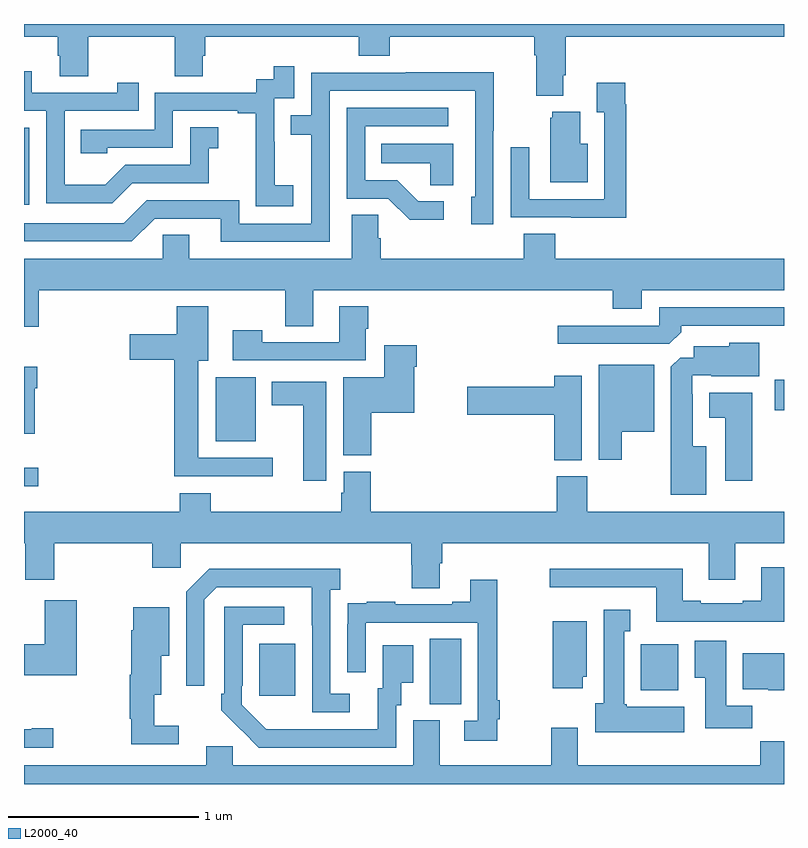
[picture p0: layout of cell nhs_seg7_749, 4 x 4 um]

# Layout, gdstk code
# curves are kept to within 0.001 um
import gdstk
lib = gdstk.Library(unit=1e-6, precision=1e-09)
def R(c, l, rs):  # rectangles x0, y0, x1, y1
    for r in rs: c.add(gdstk.rectangle(r[:2], r[2:], *l))
def P(c, l, *ps):  # polygons
    for p in ps: c.add(gdstk.Polygon(p, *l))
L2000_40 = (2000, 40)

nhs_seg7_749 = lib.new_cell('nhs_seg7_749')
R(nhs_seg7_749, L2000_40, [(169.136,1014.421,169.3,1014.764), (168.239,1014.465,168.427,1014.739), (170.246,1014.494,170.443,1014.736), (167,1015.568,167.074,1015.665), (168.008,1015.805,168.22,1016.14), (170.952,1015.966,171,1016.128), (167,1017.048,167.028,1017.453)])
P(nhs_seg7_749, L2000_40, [(169.837,1017.73),(169.85,1017.73),(169.85,1017.932),(171,1017.932),(171,1018),(167,1018),(167,1017.932),(167.177,1017.932),(167.177,1017.834),(167.189,1017.834),(167.189,1017.724),(167.337,1017.724),(167.337,1017.932),(167.794,1017.932),(167.794,1017.724),(167.941,1017.724),(167.941,1017.834),(167.954,1017.834),(167.954,1017.932),(168.761,1017.932),(168.761,1017.833),(168.926,1017.833),(168.926,1017.932),(169.685,1017.932),(169.685,1017.836),(169.697,1017.836),(169.697,1017.623),(169.837,1017.623)],
  [(168.418,1017.151),(168.32,1017.151),(168.32,1017.38),(168.318,1017.38),(168.318,1017.609),(168.423,1017.609),(168.423,1017.778),(168.315,1017.778),(168.315,1017.708),(168.222,1017.708),(168.222,1017.639),(167.688,1017.639),(167.688,1017.444),(167.299,1017.444),(167.299,1017.321),(167.439,1017.321),(167.439,1017.348),(167.784,1017.348),(167.784,1017.543),(168.125,1017.543),(168.125,1017.531),(168.221,1017.531),(168.221,1017.247),(168.22,1017.247),(168.22,1017.041),(168.418,1017.041)],
  [(167.569,1017.162),(167.973,1017.162),(167.973,1017.347),(168.022,1017.347),(168.022,1017.457),(167.874,1017.457),(167.874,1017.258),(167.532,1017.258),(167.428,1017.154),(167.214,1017.154),(167.214,1017.543),(167.603,1017.543),(167.603,1017.691),(167.492,1017.691),(167.492,1017.639),(167.041,1017.639),(167.041,1017.751),(167,1017.751),(167,1017.543),(167.118,1017.543),(167.118,1017.057),(167.464,1017.057)],
  [(168.609,1017.648),(169.374,1017.648),(169.374,1017.09),(169.355,1017.09),(169.355,1016.946),(169.47,1016.946),(169.47,1017.439),(169.473,1017.439),(169.473,1017.746),(169.009,1017.746),(169.009,1017.744),(168.513,1017.744),(168.513,1017.519),(168.403,1017.519),(168.403,1017.418),(168.513,1017.418),(168.513,1016.949),(168.132,1016.949),(168.132,1017.072),(167.646,1017.072),(167.526,1016.952),(167,1016.952),(167,1016.856),(167.568,1016.856),(167.688,1016.976),(168.035,1016.976),(168.035,1016.853),(168.609,1016.853)],
  [(170.171,1017.578),(170.164,1017.578),(170.164,1017.691),(170.015,1017.691),(170.015,1017.535),(170.055,1017.535),(170.055,1017.078),(169.659,1017.078),(169.659,1017.352),(169.563,1017.352),(169.563,1016.982),(169.879,1016.982),(169.879,1016.981),(170.171,1016.981)],
  [(169.21,1017.066),(169.075,1017.066),(168.964,1017.177),(168.795,1017.177),(168.795,1017.462),(169.234,1017.462),(169.234,1017.558),(168.699,1017.558),(168.699,1017.081),(168.918,1017.081),(169.031,1016.969),(169.21,1016.969)],
  [(169.966,1017.37),(169.927,1017.37),(169.927,1017.538),(169.781,1017.538),(169.781,1017.507),(169.769,1017.507),(169.769,1017.167),(169.966,1017.167)],
  [(169.258,1017.37),(168.88,1017.37),(168.88,1017.266),(169.137,1017.266),(169.137,1017.151),(169.258,1017.151)],
  [(167.078,1016.6),(168.376,1016.6),(168.376,1016.41),(168.523,1016.41),(168.523,1016.6),(170.099,1016.6),(170.099,1016.501),(170.251,1016.501),(170.251,1016.6),(171,1016.6),(171,1016.764),(169.796,1016.764),(169.796,1016.897),(169.631,1016.897),(169.631,1016.764),(168.878,1016.764),(168.878,1016.873),(168.864,1016.873),(168.864,1016.996),(168.725,1016.996),(168.725,1016.764),(167.869,1016.764),(167.869,1016.891),(167.73,1016.891),(167.73,1016.764),(167,1016.764),(167,1016.406),(167.078,1016.406)],
  [(168.31,1015.716),(167.917,1015.716),(167.917,1016.228),(167.971,1016.228),(167.971,1016.515),(167.804,1016.515),(167.804,1016.368),(167.556,1016.368),(167.556,1016.234),(167.792,1016.234),(167.792,1015.619),(168.31,1015.619)],
  [(168.799,1016.395),(168.812,1016.395),(168.812,1016.515),(168.659,1016.515),(168.659,1016.325),(168.255,1016.325),(168.255,1016.389),(168.099,1016.389),(168.099,1016.229),(168.799,1016.229)],
  [(170.459,1016.378),(170.459,1016.412),(171,1016.412),(171,1016.508),(170.343,1016.508),(170.343,1016.412),(169.809,1016.412),(169.809,1016.316),(170.397,1016.316)],
  [(170.59,1015.777),(170.521,1015.777),(170.521,1016.051),(170.517,1016.051),(170.517,1016.151),(170.617,1016.151),(170.617,1016.147),(170.869,1016.147),(170.869,1016.323),(170.712,1016.323),(170.712,1016.305),(170.525,1016.305),(170.525,1016.244),(170.454,1016.244),(170.405,1016.195),(170.405,1015.523),(170.59,1015.523)],
  [(168.827,1015.955),(169.054,1015.955),(169.054,1016.195),(169.067,1016.195),(169.067,1016.308),(168.896,1016.308),(168.896,1016.14),(168.68,1016.14),(168.68,1015.729),(168.827,1015.729)],
  [(170.146,1015.853),(170.317,1015.853),(170.317,1016.206),(170.024,1016.206),(170.024,1015.707),(170.146,1015.707)],
  [(167.056,1016.084),(167.069,1016.084),(167.069,1016.197),(167,1016.197),(167,1015.844),(167.056,1015.844)],
  [(169.936,1016.149),(169.79,1016.149),(169.79,1016.09),(169.332,1016.09),(169.332,1015.943),(169.79,1015.943),(169.79,1015.705),(169.936,1015.705)],
  [(168.592,1016.116),(168.305,1016.116),(168.305,1015.994),(168.47,1015.994),(168.47,1015.596),(168.592,1015.596)],
  [(170.833,1016.059),(170.606,1016.059),(170.606,1015.928),(170.69,1015.928),(170.69,1015.596),(170.833,1015.596)],
  [(168.683,1015.644),(168.683,1015.533),(168.671,1015.533),(168.671,1015.432),(167.984,1015.432),(167.984,1015.531),(167.819,1015.531),(167.819,1015.432),(167,1015.432),(167,1015.268),(167.006,1015.268),(167.006,1015.074),(167.159,1015.074),(167.159,1015.268),(167.675,1015.268),(167.675,1015.137),(167.826,1015.137),(167.826,1015.268),(169.037,1015.268),(169.037,1015.155),(169.042,1015.155),(169.042,1015.03),(169.189,1015.03),(169.189,1015.162),(169.202,1015.162),(169.202,1015.268),(170.603,1015.268),(170.603,1015.074),(170.743,1015.074),(170.743,1015.268),(171,1015.268),(171,1015.432),(169.965,1015.432),(169.965,1015.62),(169.805,1015.62),(169.805,1015.432),(168.824,1015.432),(168.824,1015.644)],
  [(171,1015.141),(170.879,1015.141),(170.879,1014.964),(170.783,1014.964),(170.783,1014.951),(170.563,1014.951),(170.563,1014.964),(170.467,1014.964),(170.467,1015.132),(169.767,1015.132),(169.767,1015.035),(170.327,1015.035),(170.327,1014.855),(170.787,1014.855),(170.787,1014.854),(171,1014.854)],
  [(168.715,1014.474),(168.612,1014.474),(168.612,1015.022),(168.664,1015.022),(168.664,1015.132),(167.974,1015.132),(167.853,1015.011),(167.853,1014.516),(167.949,1014.516),(167.949,1014.969),(168.015,1015.035),(168.515,1015.035),(168.516,1014.378),(168.715,1014.378)],
  [(169.49,1014.34),(169.505,1014.34),(169.505,1014.44),(169.49,1014.44),(169.49,1015.075),(169.349,1015.075),(169.349,1014.958),(169.253,1014.958),(169.253,1014.945),(168.953,1014.945),(168.953,1014.958),(168.805,1014.958),(168.805,1014.951),(168.703,1014.951),(168.703,1014.842),(168.702,1014.842),(168.702,1014.588),(168.798,1014.588),(168.798,1014.849),(169.389,1014.849),(169.389,1014.333),(169.317,1014.333),(169.317,1014.228),(169.49,1014.228)],
  [(167.278,1014.967),(167.108,1014.967),(167.108,1014.735),(167,1014.735),(167,1014.572),(167.278,1014.572)],
  [(168.96,1014.414),(168.985,1014.414),(168.985,1014.533),(169.048,1014.533),(169.048,1014.73),(168.887,1014.73),(168.887,1014.504),(168.863,1014.504),(168.863,1014.288),(168.276,1014.289),(168.147,1014.417),(168.147,1014.517),(168.15,1014.517),(168.15,1014.837),(168.37,1014.837),(168.37,1014.933),(168.054,1014.933),(168.054,1014.475),(168.039,1014.475),(168.039,1014.387),(168.236,1014.192),(168.96,1014.192)],
  [(167.815,1014.307),(167.686,1014.307),(167.686,1014.47),(167.722,1014.47),(167.722,1014.674),(167.764,1014.674),(167.764,1014.931),(167.576,1014.931),(167.576,1014.81),(167.564,1014.81),(167.564,1014.574),(167.557,1014.574),(167.557,1014.344),(167.565,1014.344),(167.565,1014.21),(167.815,1014.21)],
  [(170.476,1014.406),(170.172,1014.406),(170.172,1014.42),(170.158,1014.42),(170.158,1014.803),(170.191,1014.803),(170.191,1014.916),(170.051,1014.916),(170.051,1014.426),(170.006,1014.426),(170.006,1014.272),(170.476,1014.272)],
  [(169.942,1014.564),(169.963,1014.564),(169.963,1014.856),(169.784,1014.856),(169.784,1014.504),(169.942,1014.504)],
  [(170.834,1014.412),(170.695,1014.412),(170.695,1014.754),(170.531,1014.754),(170.531,1014.56),(170.585,1014.56),(170.585,1014.294),(170.834,1014.294)],
  [(171,1014.688),(170.783,1014.688),(170.783,1014.5),(170.916,1014.5),(170.916,1014.494),(171,1014.494)],
  [(171,1014.224),(170.875,1014.224),(170.875,1014.1),(169.915,1014.1),(169.915,1014.295),(169.775,1014.295),(169.775,1014.1),(169.189,1014.1),(169.189,1014.336),(169.049,1014.336),(169.049,1014.1),(168.099,1014.1),(168.099,1014.198),(167.96,1014.198),(167.96,1014.1),(167,1014.1),(167,1014),(171,1014)],
  [(167.155,1014.293),(167.042,1014.293),(167.042,1014.288),(167,1014.288),(167,1014.192),(167.155,1014.192)])

lib.write_gds('nhs_seg7_749.gds')
